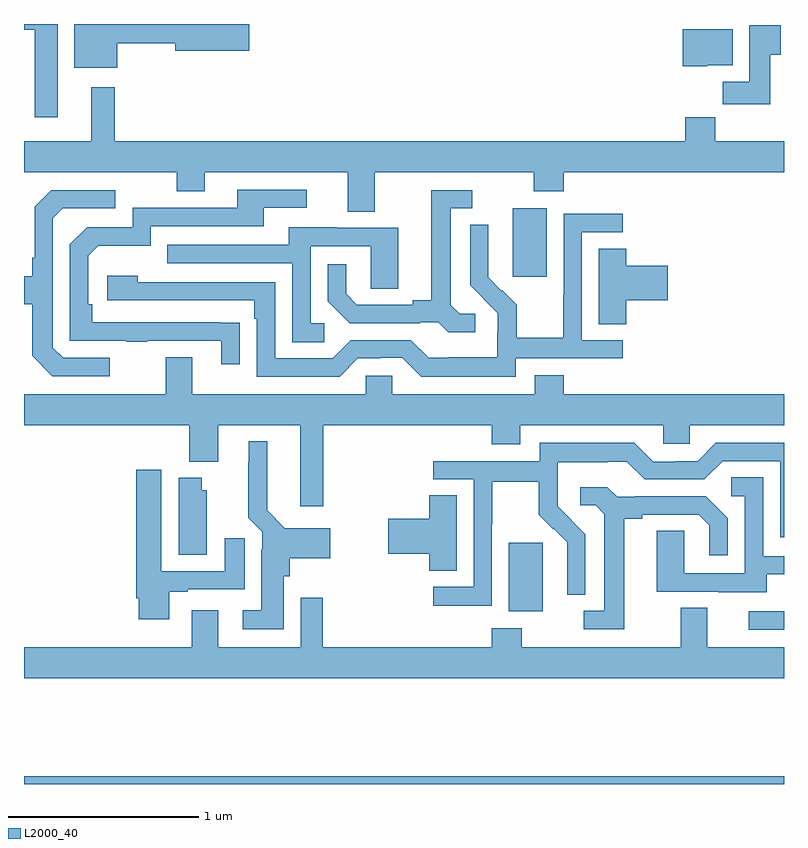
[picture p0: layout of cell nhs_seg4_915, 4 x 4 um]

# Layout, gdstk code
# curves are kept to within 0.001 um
import gdstk
lib = gdstk.Library(unit=1e-6, precision=1e-09)
def R(c, l, rs):  # rectangles x0, y0, x1, y1
    for r in rs: c.add(gdstk.rectangle(r[:2], r[2:], *l))
def P(c, l, *ps):  # polygons
    for p in ps: c.add(gdstk.Polygon(p, *l))
L2000_40 = (2000, 40)

nhs_seg4_915 = lib.new_cell('nhs_seg4_915')
R(nhs_seg4_915, L2000_40, [(157,826.9,161,826.94), (160.815,827.712,161,827.808), (159.551,827.81,159.73,828.171), (159.572,829.569,159.751,829.93)])
P(nhs_seg4_915, L2000_40, [(157.177,830.9),(157,830.9),(157,830.87),(157.056,830.87),(157.056,830.409),(157.177,830.409)],
  [(157.492,830.8),(157.796,830.8),(157.796,830.758),(158.185,830.758),(158.185,830.9),(157.265,830.9),(157.265,830.669),(157.492,830.669)],
  [(160.927,830.737),(160.984,830.737),(160.984,830.893),(160.817,830.893),(160.817,830.596),(160.678,830.596),(160.678,830.478),(160.927,830.478)],
  [(160.596,830.684),(160.729,830.684),(160.729,830.872),(160.466,830.872),(160.466,830.678),(160.596,830.678)],
  [(158.845,830.12),(159.682,830.12),(159.682,830.021),(159.842,830.021),(159.842,830.12),(161,830.12),(161,830.284),(160.637,830.284),(160.637,830.408),(160.481,830.408),(160.481,830.284),(157.477,830.284),(157.477,830.566),(157.355,830.566),(157.355,830.284),(157,830.284),(157,830.12),(157.804,830.12),(157.804,830.021),(157.951,830.021),(157.951,830.12),(158.705,830.12),(158.705,829.912),(158.845,829.912)],
  [(158.135,829.328),(157.358,829.329),(157.358,829.426),(157.338,829.426),(157.338,829.68),(157.391,829.733),(157.668,829.733),(157.668,829.836),(158.263,829.836),(158.263,829.932),(158.488,829.932),(158.488,830.028),(158.123,830.028),(158.123,829.932),(157.572,829.932),(157.572,829.83),(157.332,829.83),(157.242,829.74),(157.242,829.233),(157.537,829.233),(157.537,829.228),(157.649,829.228),(157.649,829.233),(158.039,829.233),(158.039,829.11),(158.135,829.11)],
  [(157.45,829.143),(157.206,829.143),(157.152,829.197),(157.152,829.878),(157.203,829.929),(157.48,829.929),(157.48,830.025),(157.143,830.025),(157.056,829.938),(157.056,829.669),(157.044,829.669),(157.044,829.573),(157,829.573),(157,829.426),(157.044,829.426),(157.044,829.153),(157.149,829.047),(157.45,829.047)],
  [(159.376,829.374),(159.294,829.374),(159.247,829.421),(159.247,829.929),(159.358,829.929),(159.358,830.025),(159.143,830.025),(159.143,829.445),(159.047,829.445),(159.047,829.422),(158.752,829.422),(158.695,829.479),(158.695,829.636),(158.598,829.636),(158.598,829.442),(158.714,829.326),(159.086,829.326),(159.086,829.329),(159.18,829.329),(159.232,829.277),(159.376,829.277)],
  [(159.588,829.14),(160.15,829.14),(160.15,829.236),(159.936,829.236),(159.936,829.803),(160.15,829.803),(160.15,829.902),(159.84,829.902),(159.84,829.472),(159.838,829.472),(159.838,829.249),(159.593,829.249),(159.593,829.423),(159.516,829.5),(159.513,829.497),(159.443,829.568),(159.444,829.844),(159.348,829.844),(159.348,829.526),(159.494,829.378),(159.494,829.281),(159.492,829.281),(159.492,829.147),(159.229,829.147),(159.229,829.143),(159.129,829.143),(159.036,829.236),(158.721,829.236),(158.625,829.14),(158.322,829.14),(158.322,829.542),(157.598,829.542),(157.598,829.576),(157.437,829.576),(157.437,829.446),(158.213,829.446),(158.213,829.349),(158.226,829.349),(158.226,829.044),(158.661,829.044),(158.757,829.14),(158.876,829.14),(158.876,829.143),(158.991,829.143),(159.091,829.043),(159.588,829.043)],
  [(158.581,829.326),(158.508,829.326),(158.508,829.731),(158.826,829.731),(158.826,829.507),(158.971,829.507),(158.971,829.827),(158.647,829.827),(158.647,829.831),(158.393,829.831),(158.393,829.737),(157.753,829.737),(157.753,829.641),(158.412,829.641),(158.412,829.225),(158.581,829.225)],
  [(160.169,829.445),(160.387,829.445),(160.387,829.628),(160.169,829.628),(160.169,829.718),(160.025,829.718),(160.025,829.321),(160.169,829.321)],
  [(158.576,828.788),(159.461,828.788),(159.461,828.689),(159.613,828.689),(159.613,828.788),(160.365,828.788),(160.365,828.69),(160.503,828.69),(160.503,828.788),(161,828.788),(161,828.952),(159.842,828.952),(159.842,829.051),(159.689,829.051),(159.689,828.952),(158.937,828.952),(158.937,829.05),(158.799,829.05),(158.799,828.952),(157.885,828.952),(157.885,829.147),(157.745,829.147),(157.745,828.952),(157,828.952),(157,828.788),(157.871,828.788),(157.871,828.596),(158.023,828.596),(158.023,828.788),(158.453,828.788),(158.453,828.363),(158.576,828.363)],
  [(158.368,827.994),(158.399,827.994),(158.399,828.089),(158.611,828.089),(158.611,828.247),(158.373,828.247),(158.281,828.34),(158.281,828.703),(158.183,828.703),(158.183,828.593),(158.179,828.593),(158.179,828.302),(158.253,828.228),(158.253,828.134),(158.249,828.134),(158.249,827.815),(158.151,827.815),(158.151,827.714),(158.368,827.714)],
  [(159.462,828.268),(159.465,828.268),(159.465,828.492),(159.709,828.492),(159.709,828.317),(159.786,828.24),(159.789,828.243),(159.86,828.173),(159.86,828.05),(159.858,828.05),(159.858,827.896),(159.954,827.896),(159.954,828.214),(159.808,828.362),(159.808,828.459),(159.81,828.459),(159.81,828.593),(160.073,828.593),(160.073,828.597),(160.173,828.597),(160.266,828.504),(160.581,828.504),(160.677,828.6),(160.98,828.6),(160.98,828.198),(161,828.198),(161,828.696),(160.641,828.696),(160.545,828.6),(160.427,828.6),(160.427,828.597),(160.311,828.597),(160.211,828.697),(159.714,828.697),(159.714,828.6),(159.153,828.6),(159.153,828.504),(159.366,828.504),(159.366,827.937),(159.153,827.937),(159.153,827.839),(159.462,827.839)],
  [(157.765,827.913),(157.861,827.913),(157.861,827.925),(158.161,827.925),(158.161,828.193),(158.057,828.193),(158.057,828.021),(157.723,828.021),(157.723,828.553),(157.592,828.553),(157.592,827.878),(157.604,827.878),(157.604,827.766),(157.765,827.766)],
  [(160.909,828.003),(161,828.003),(161,828.099),(160.89,828.099),(160.89,828.515),(160.722,828.515),(160.722,828.414),(160.794,828.414),(160.794,828.009),(160.476,828.009),(160.476,828.233),(160.331,828.233),(160.331,827.913),(160.655,827.913),(160.655,827.909),(160.909,827.909)],
  [(157.963,828.447),(157.936,828.447),(157.936,828.511),(157.814,828.511),(157.814,828.106),(157.963,828.106)],
  [(160.159,828.296),(160.255,828.296),(160.255,828.318),(160.55,828.318),(160.607,828.261),(160.607,828.105),(160.704,828.105),(160.704,828.298),(160.588,828.414),(160.216,828.414),(160.216,828.411),(160.122,828.411),(160.07,828.463),(159.927,828.463),(159.927,828.366),(160.008,828.366),(160.055,828.319),(160.055,827.811),(159.945,827.811),(159.945,827.715),(160.159,827.715)],
  [(159.277,828.419),(159.134,828.419),(159.134,828.296),(158.916,828.296),(158.916,828.113),(159.134,828.113),(159.134,828.022),(159.277,828.022)],
  [(161,827.62),(160.597,827.62),(160.597,827.828),(160.457,827.828),(160.457,827.62),(159.621,827.62),(159.621,827.719),(159.461,827.719),(159.461,827.62),(158.573,827.62),(158.573,827.881),(158.457,827.881),(158.457,827.62),(158.023,827.62),(158.023,827.815),(157.883,827.815),(157.883,827.62),(157,827.62),(157,827.456),(161,827.456)])

lib.write_gds('nhs_seg4_915.gds')
